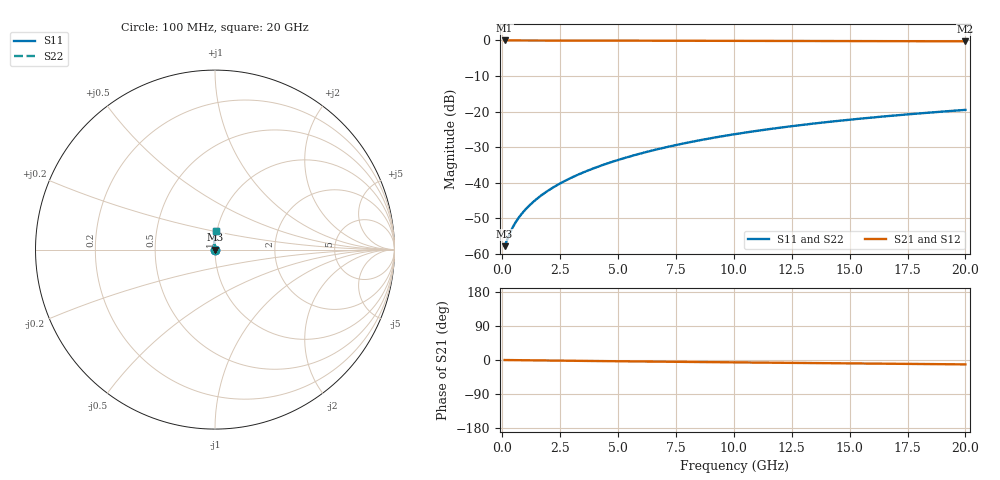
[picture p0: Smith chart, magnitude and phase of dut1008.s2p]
! Touchstone file exported from HFSS 2024.1.0
!  File:  C:/UserFiles/LocalFiles/RDL_TSV_Batchsim/temp_RDL_bottom_1008_1780050242.aedt
!  Generated:  06:26:13 PM May 29, 2026
!  Design:  RDL_bottom
!  Project:  temp_RDL_bottom_1008_1780050242
!  Setup:  Setup1
!  Solution:  Sweep
! Variables:
!  dtsv = 10.80580581um
!  hbump = 3um
!  htsv = 85.24um
!  ldown = 154.7um
!  lrdl = 100um
!  p = 40
!  p1 = 45.24um
!  rhole = 1um
!  t = 450um
!  tdown = 2.4um
!  trdl = 3.915915916um
!  wdown = 29.21um
!  wrdl = 20um
# GHz S MA R 50.000000
! Terminal data exported
! Port[1] = RDL1_T1
! Port[2] = RDL1_T2
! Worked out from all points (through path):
!   200 points, 100 MHz to 20 GHz, reference 50 ohm
!   highest |S21| = -0.01 dB at 100 MHz (marker M1); lowest = -0.3 dB at 20 GHz (marker M2)
!   group delay of S21, straight-line fit = 1.59 ps
!   lowest |S11| = -57.9 dB at 100 MHz (marker M3), VSWR 1.00, Z = 50.1 + j0.0467 ohm
!   |S11| at or under -10 dB: start of sweep to end of sweep
!   |S22| runs from -57.9 to -19.5 dB; largest |S21 - S12| = 3.2e-15
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0.1  0.001276 21.4  0.9988 -0.1  0.9988 -0.1  0.001276 21.4
! Gamma 0 0 0 0
! Port Impedance 50 0 50 0
0.3  0.001851 46.0  0.9987 -0.2  0.9987 -0.2  0.001851 46.0
0.4  0.002183 52.3  0.9986 -0.3  0.9986 -0.3  0.002183 52.3
0.6  0.002845 60.5  0.9985 -0.4  0.9985 -0.4  0.002845 60.5
0.7  0.003175 63.6  0.9984 -0.5  0.9984 -0.5  0.003175 63.6
0.9  0.003843 68.4  0.9983 -0.6  0.9983 -0.6  0.003843 68.4
1.2  0.004873 73.8  0.9981 -0.8  0.9981 -0.8  0.004873 73.8
1.4  0.00558 76.6  0.9979 -1.0  0.9979 -1.0  0.00558 76.6
1.7  0.006672 79.9  0.9977 -1.2  0.9977 -1.2  0.006672 79.9
2.2  0.008568 83.9  0.9972 -1.5  0.9972 -1.5  0.008568 83.9
2.8  0.01096 87.3  0.9966 -1.9  0.9966 -1.9  0.01096 87.3
3.5  0.01392 90.1  0.9957 -2.4  0.9957 -2.4  0.01392 90.1
4.2  0.01705 92.0  0.9946 -2.8  0.9946 -2.8  0.01705 92.0
5  0.02082 93.4  0.9934 -3.3  0.9934 -3.3  0.02082 93.4
5.9  0.0253 94.4  0.9919 -3.9  0.9919 -3.9  0.0253 94.4
6.8  0.02999 94.9  0.9903 -4.4  0.9903 -4.4  0.02999 94.9
8.4  0.03871 94.8  0.9876 -5.3  0.9876 -5.3  0.03871 94.8
10.1  0.04832 94.1  0.9848 -6.3  0.9848 -6.3  0.04832 94.1
11.7  0.05754 93.0  0.9823 -7.2  0.9823 -7.2  0.05754 93.0
13.4  0.06741 91.7  0.9799 -8.1  0.9799 -8.1  0.06741 91.7
16.7  0.08652 89.1  0.9756 -9.8  0.9756 -9.8  0.08652 89.1
20  0.1054 86.4  0.9716 -11.6  0.9716 -11.6  0.1054 86.4
